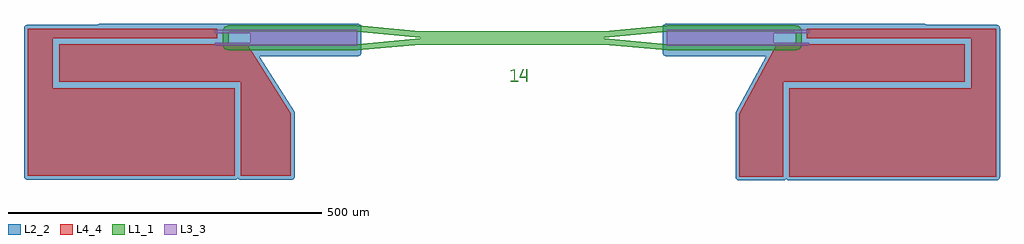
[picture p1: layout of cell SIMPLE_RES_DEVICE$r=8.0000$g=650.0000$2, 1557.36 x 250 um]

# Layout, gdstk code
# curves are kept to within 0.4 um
import gdstk
lib = gdstk.Library(unit=1e-6, precision=1e-10)
def P(c, l, *ps):  # polygons
    for p in ps: c.add(gdstk.Polygon(p, *l))
L1_1 = (1, 1)
L2_2 = (2, 2)
L3_3 = (3, 3)
L4_4 = (4, 4)

simple_res_device_r_8_00 = lib.new_cell('SIMPLE_RES_DEVICE$r=8.0000$g=650.0000$2')
P(simple_res_device_r_8_00, L1_1, [(-960.382,-15.25),(-964.2088,-14.4888),(-967.4531,-12.3211),(-969.6208,-9.0768),(-970.3338,-6.2302),(-969.9514,17.6528),(-966.7259,22.4801),(-961.3622,24.7018),(-755.182,24.75),(-654.713,15.35),(-508.1,15.35),(-508.1,5.35),(-655.182,5.35),(-755.182,14.75),(-960.382,14.75),(-960.382,-5.25),(-755.182,-5.25),(-655.182,4.15),(-508.1,4.15),(-508.1,-5.85),(-654.713,-5.85),(-755.182,-15.25)],
  [(-261.018,-15.25),(-361.487,-5.85),(-508.1,-5.85),(-508.1,4.15),(-361.018,4.15),(-261.018,-5.25),(-55.818,-5.25),(-55.818,14.75),(-261.018,14.75),(-361.018,5.35),(-508.1,5.35),(-508.1,15.35),(-361.487,15.35),(-261.018,24.75),(-55.818,24.75),(-51.9912,23.9888),(-49.4741,22.4801),(-46.2486,17.6528),(-45.818,-5.25),(-46.5792,-9.0768),(-48.7469,-12.3211),(-51.9912,-14.4888),(-55.818,-15.25)],
  [(-485.764,-65.214),(-485.764,-45.108),(-484.286,-45.108),(-484.286,-65.214),(-484.286,-65.214)],
  [(-510.601,-65.22),(-510.601,-63.87),(-505.289,-63.87),(-505.289,-46.736),(-510.601,-48.1),(-510.601,-46.7),(-503.805,-44.946),(-503.805,-63.87),(-498.353,-63.87),(-498.353,-65.22),(-498.353,-65.22)],
  [(-495.994,-58.714),(-495.994,-57.23),(-491.416,-45.108),(-489.884,-45.108),(-494.302,-57.23),(-494.302,-57.23),(-486.84,-57.23),(-486.84,-58.714)])
P(simple_res_device_r_8_00, L2_2, [(-145.818,-222.5),(-149.6244,-221.1381),(-151.1095,-219.3284),(-151.7891,-217.0881),(-151.7005,-115.3184),(-102.9087,-24.5),(-263.5597,-24.2416),(-266.4561,-22.3064),(-267.818,-18.5),(-267.7891,22.0881),(-266.8068,24.8334),(-264.6464,26.7915),(-261.818,27.5),(148.182,27.5),(150.4781,27.0433),(152.6446,25.5),(264.182,25.5),(267.0104,24.7915),(269.4735,22.3284),(270.182,19.5),(270.182,-216.5),(269.4735,-219.3284),(267.0104,-221.7915),(264.182,-222.5),(-65.818,-222.5),(-68.6464,-221.7915),(-70.818,-219.8148),(-72.9896,-221.7915),(-75.818,-222.5)],
  [(-1281.182,-221.5),(-1283.4781,-221.0433),(-1285.4246,-219.7426),(-1286.7253,-217.7961),(-1287.182,-215.5),(-1287.182,19.5),(-1286.1708,22.8334),(-1283.4781,25.0433),(-1281.182,25.5),(-1169.6446,25.5),(-1167.4781,27.0433),(-1165.182,27.5),(-755.182,27.5),(-751.8486,26.4888),(-749.6387,23.7961),(-749.182,21.5),(-749.2109,-19.0881),(-750.5439,-22.3064),(-753.4403,-24.2416),(-911.9792,-24.5),(-855.4213,-113.8225),(-855.182,-215.5),(-856.1932,-218.8334),(-858.8859,-221.0433),(-861.182,-221.5),(-941.182,-221.5),(-944.0104,-220.7915),(-946.182,-218.8148),(-948.3536,-220.7915),(-951.182,-221.5)])
P(simple_res_device_r_8_00, L3_3, [(-261.818,-8),(-261.818,-3),(-261.363,-3),(-261.363,11.75),(-260.918,11.75),(-260.918,-3),(-260.918,-3),(-259.563,-3),(-259.563,11.75),(-259.118,11.75),(-259.118,-3),(-257.763,-3),(-257.763,11.75),(-257.318,11.75),(-257.318,-3),(-255.963,-3),(-255.963,11.75),(-255.518,11.75),(-255.518,-3),(-254.163,-3),(-254.163,11.75),(-253.718,11.75),(-253.718,-3),(-252.363,-3),(-252.363,11.75),(-251.918,11.75),(-251.918,-3),(-250.563,-3),(-250.563,11.75),(-250.118,11.75),(-250.118,-3),(-248.763,-3),(-248.763,11.75),(-248.318,11.75),(-248.318,-3),(-246.963,-3),(-246.963,11.75),(-246.518,11.75),(-246.518,-3),(-245.163,-3),(-245.163,11.75),(-244.718,11.75),(-244.718,-3),(-243.363,-3),(-243.363,11.75),(-242.918,11.75),(-242.918,-3),(-241.563,-3),(-241.563,11.75),(-241.118,11.75),(-241.118,-3),(-239.763,-3),(-239.763,11.75),(-239.318,11.75),(-239.318,-3),(-237.963,-3),(-237.963,11.75),(-237.518,11.75),(-237.518,-3),(-236.163,-3),(-236.163,11.75),(-235.718,11.75),(-235.718,-3),(-234.363,-3),(-234.363,11.75),(-233.918,11.75),(-233.918,-3),(-232.563,-3),(-232.563,11.75),(-232.118,11.75),(-232.118,-3),(-230.763,-3),(-230.763,11.75),(-230.318,11.75),(-230.318,-3),(-228.963,-3),(-228.963,11.75),(-228.518,11.75),(-228.518,-3),(-227.163,-3),(-227.163,11.75),(-226.718,11.75),(-226.718,-3),(-225.363,-3),(-225.363,11.75),(-224.918,11.75),(-224.918,-3),(-223.563,-3),(-223.563,11.75),(-223.118,11.75),(-223.118,-3),(-221.763,-3),(-221.763,11.75),(-221.318,11.75),(-221.318,-3),(-219.963,-3),(-219.963,11.75),(-219.518,11.75),(-219.518,-3),(-218.163,-3),(-218.163,11.75),(-217.718,11.75),(-217.718,-3),(-216.363,-3),(-216.363,11.75),(-215.918,11.75),(-215.918,-3),(-214.563,-3),(-214.563,11.75),(-214.118,11.75),(-214.118,-3),(-212.763,-3),(-212.763,11.75),(-212.318,11.75),(-212.318,-3),(-210.963,-3),(-210.963,11.75),(-210.518,11.75),(-210.518,-3),(-209.163,-3),(-209.163,11.75),(-208.718,11.75),(-208.718,-3),(-207.363,-3),(-207.363,11.75),(-206.918,11.75),(-206.918,-3),(-205.563,-3),(-205.563,11.75),(-205.118,11.75),(-205.118,-3),(-203.763,-3),(-203.763,11.75),(-203.318,11.75),(-203.318,-3),(-201.963,-3),(-201.963,11.75),(-201.518,11.75),(-201.518,-3),(-200.163,-3),(-200.163,11.75),(-199.718,11.75),(-199.718,-3),(-198.363,-3),(-198.363,11.75),(-197.918,11.75),(-197.918,-3),(-196.563,-3),(-196.563,11.75),(-196.118,11.75),(-196.118,-3),(-194.763,-3),(-194.763,11.75),(-194.318,11.75),(-194.318,-3),(-192.963,-3),(-192.963,11.75),(-192.518,11.75),(-192.518,-3),(-191.163,-3),(-191.163,11.75),(-190.718,11.75),(-190.718,-3),(-189.363,-3),(-189.363,11.75),(-188.918,11.75),(-188.918,-3),(-187.563,-3),(-187.563,11.75),(-187.118,11.75),(-187.118,-3),(-185.763,-3),(-185.763,11.75),(-185.318,11.75),(-185.318,-3),(-183.963,-3),(-183.963,11.75),(-183.518,11.75),(-183.518,-3),(-182.163,-3),(-182.163,11.75),(-181.718,11.75),(-181.718,-3),(-180.363,-3),(-180.363,11.75),(-179.918,11.75),(-179.918,-3),(-178.563,-3),(-178.563,11.75),(-178.118,11.75),(-178.118,-3),(-176.763,-3),(-176.763,11.75),(-176.318,11.75),(-176.318,-3),(-174.963,-3),(-174.963,11.75),(-174.518,11.75),(-174.518,-3),(-173.163,-3),(-173.163,11.75),(-172.718,11.75),(-172.718,-3),(-171.363,-3),(-171.363,11.75),(-170.918,11.75),(-170.918,-3),(-169.563,-3),(-169.563,11.75),(-169.118,11.75),(-169.118,-3),(-167.763,-3),(-167.763,11.75),(-167.318,11.75),(-167.318,-3),(-165.963,-3),(-165.963,11.75),(-165.518,11.75),(-165.518,-3),(-164.163,-3),(-164.163,11.75),(-163.718,11.75),(-163.718,-3),(-162.363,-3),(-162.363,11.75),(-161.918,11.75),(-161.918,-3),(-160.563,-3),(-160.563,11.75),(-160.118,11.75),(-160.118,-3),(-158.763,-3),(-158.763,11.75),(-158.318,11.75),(-158.318,-3),(-156.963,-3),(-156.963,11.75),(-156.518,11.75),(-156.518,-3),(-155.163,-3),(-155.163,11.75),(-154.718,11.75),(-154.718,-3),(-153.363,-3),(-153.363,11.75),(-152.918,11.75),(-152.918,-3),(-151.563,-3),(-151.563,11.75),(-151.118,11.75),(-151.118,-3),(-149.763,-3),(-149.763,11.75),(-149.318,11.75),(-149.318,-3),(-147.963,-3),(-147.963,11.75),(-147.518,11.75),(-147.518,-3),(-146.163,-3),(-146.163,11.75),(-145.718,11.75),(-145.718,-3),(-144.363,-3),(-144.363,11.75),(-143.918,11.75),(-143.918,-3),(-142.563,-3),(-142.563,11.75),(-142.118,11.75),(-142.118,-3),(-140.763,-3),(-140.763,11.75),(-140.318,11.75),(-140.318,-3),(-138.963,-3),(-138.963,11.75),(-138.518,11.75),(-138.518,-3),(-137.163,-3),(-137.163,11.75),(-136.718,11.75),(-136.718,-3),(-135.363,-3),(-135.363,11.75),(-134.918,11.75),(-134.918,-3),(-133.563,-3),(-133.563,11.75),(-133.118,11.75),(-133.118,-3),(-131.763,-3),(-131.763,11.75),(-131.318,11.75),(-131.318,-3),(-129.963,-3),(-129.963,11.75),(-129.518,11.75),(-129.518,-3),(-128.163,-3),(-128.163,11.75),(-127.718,11.75),(-127.718,-3),(-126.363,-3),(-126.363,11.75),(-125.918,11.75),(-125.918,-3),(-124.563,-3),(-124.563,11.75),(-124.118,11.75),(-124.118,-3),(-122.763,-3),(-122.763,11.75),(-122.318,11.75),(-122.318,-3),(-120.963,-3),(-120.963,11.75),(-120.518,11.75),(-120.518,-3),(-119.163,-3),(-119.163,11.75),(-118.718,11.75),(-118.718,-3),(-117.363,-3),(-117.363,11.75),(-116.918,11.75),(-116.918,-3),(-115.563,-3),(-115.563,11.75),(-115.118,11.75),(-115.118,-3),(-113.763,-3),(-113.763,11.75),(-113.318,11.75),(-113.318,-3),(-111.963,-3),(-111.963,11.75),(-111.518,11.75),(-111.518,-3),(-110.163,-3),(-110.163,11.75),(-109.718,11.75),(-109.718,-3),(-108.363,-3),(-108.363,11.75),(-107.918,11.75),(-107.918,-3),(-106.563,-3),(-106.563,11.75),(-106.118,11.75),(-106.118,-3),(-104.763,-3),(-104.763,11.75),(-104.318,11.75),(-104.318,-3),(-102.963,-3),(-102.963,11.75),(-102.518,11.75),(-102.518,-3),(-101.163,-3),(-101.163,11.75),(-100.718,11.75),(-100.718,-3),(-99.363,-3),(-99.363,11.75),(-98.918,11.75),(-98.918,-3),(-97.563,-3),(-97.563,11.75),(-97.118,11.75),(-97.118,-3),(-95.763,-3),(-95.763,11.75),(-95.318,11.75),(-95.318,-3),(-93.963,-3),(-93.963,11.75),(-93.518,11.75),(-93.518,-3),(-92.163,-3),(-92.163,11.75),(-91.718,11.75),(-91.718,-3),(-33.818,-3),(-33.818,-8)],
  [(-260.463,-2.25),(-260.463,12.5),(-261.818,12.5),(-261.818,17.5),(-33.818,17.5),(-33.818,12.5),(-90.818,12.5),(-90.818,-2.25),(-91.263,-2.25),(-91.263,12.5),(-92.618,12.5),(-92.618,-2.25),(-93.063,-2.25),(-93.063,12.5),(-94.418,12.5),(-94.418,-2.25),(-94.863,-2.25),(-94.863,12.5),(-96.218,12.5),(-96.218,-2.25),(-96.663,-2.25),(-96.663,12.5),(-98.018,12.5),(-98.018,-2.25),(-98.463,-2.25),(-98.463,12.5),(-99.818,12.5),(-99.818,-2.25),(-100.263,-2.25),(-100.263,12.5),(-101.618,12.5),(-101.618,-2.25),(-102.063,-2.25),(-102.063,12.5),(-103.418,12.5),(-103.418,-2.25),(-103.863,-2.25),(-103.863,12.5),(-105.218,12.5),(-105.218,-2.25),(-105.663,-2.25),(-105.663,12.5),(-107.018,12.5),(-107.018,-2.25),(-107.463,-2.25),(-107.463,12.5),(-108.818,12.5),(-108.818,-2.25),(-109.263,-2.25),(-109.263,12.5),(-110.618,12.5),(-110.618,-2.25),(-111.063,-2.25),(-111.063,12.5),(-112.418,12.5),(-112.418,-2.25),(-112.863,-2.25),(-112.863,12.5),(-114.218,12.5),(-114.218,-2.25),(-114.663,-2.25),(-114.663,12.5),(-116.018,12.5),(-116.018,-2.25),(-116.463,-2.25),(-116.463,12.5),(-117.818,12.5),(-117.818,-2.25),(-118.263,-2.25),(-118.263,12.5),(-119.618,12.5),(-119.618,-2.25),(-120.063,-2.25),(-120.063,12.5),(-121.418,12.5),(-121.418,-2.25),(-121.863,-2.25),(-121.863,12.5),(-123.218,12.5),(-123.218,-2.25),(-123.663,-2.25),(-123.663,12.5),(-125.018,12.5),(-125.018,-2.25),(-125.463,-2.25),(-125.463,12.5),(-126.818,12.5),(-126.818,-2.25),(-127.263,-2.25),(-127.263,12.5),(-128.618,12.5),(-128.618,-2.25),(-129.063,-2.25),(-129.063,12.5),(-130.418,12.5),(-130.418,-2.25),(-130.863,-2.25),(-130.863,12.5),(-132.218,12.5),(-132.218,-2.25),(-132.663,-2.25),(-132.663,12.5),(-134.018,12.5),(-134.018,-2.25),(-134.463,-2.25),(-134.463,12.5),(-135.818,12.5),(-135.818,-2.25),(-136.263,-2.25),(-136.263,12.5),(-137.618,12.5),(-137.618,-2.25),(-138.063,-2.25),(-138.063,12.5),(-139.418,12.5),(-139.418,-2.25),(-139.863,-2.25),(-139.863,12.5),(-141.218,12.5),(-141.218,-2.25),(-141.663,-2.25),(-141.663,12.5),(-143.018,12.5),(-143.018,-2.25),(-143.463,-2.25),(-143.463,12.5),(-144.818,12.5),(-144.818,-2.25),(-145.263,-2.25),(-145.263,12.5),(-146.618,12.5),(-146.618,-2.25),(-147.063,-2.25),(-147.063,12.5),(-148.418,12.5),(-148.418,-2.25),(-148.863,-2.25),(-148.863,12.5),(-150.218,12.5),(-150.218,-2.25),(-150.663,-2.25),(-150.663,12.5),(-152.018,12.5),(-152.018,-2.25),(-152.463,-2.25),(-152.463,12.5),(-153.818,12.5),(-153.818,-2.25),(-154.263,-2.25),(-154.263,12.5),(-155.618,12.5),(-155.618,-2.25),(-156.063,-2.25),(-156.063,12.5),(-157.418,12.5),(-157.418,-2.25),(-157.863,-2.25),(-157.863,12.5),(-159.218,12.5),(-159.218,-2.25),(-159.663,-2.25),(-159.663,12.5),(-161.018,12.5),(-161.018,-2.25),(-161.463,-2.25),(-161.463,12.5),(-162.818,12.5),(-162.818,-2.25),(-163.263,-2.25),(-163.263,12.5),(-164.618,12.5),(-164.618,-2.25),(-165.063,-2.25),(-165.063,12.5),(-166.418,12.5),(-166.418,-2.25),(-166.863,-2.25),(-166.863,12.5),(-168.218,12.5),(-168.218,-2.25),(-168.663,-2.25),(-168.663,12.5),(-170.018,12.5),(-170.018,-2.25),(-170.463,-2.25),(-170.463,12.5),(-171.818,12.5),(-171.818,-2.25),(-172.263,-2.25),(-172.263,12.5),(-173.618,12.5),(-173.618,-2.25),(-174.063,-2.25),(-174.063,12.5),(-175.418,12.5),(-175.418,-2.25),(-175.863,-2.25),(-175.863,12.5),(-177.218,12.5),(-177.218,-2.25),(-177.663,-2.25),(-177.663,12.5),(-179.018,12.5),(-179.018,-2.25),(-179.463,-2.25),(-179.463,12.5),(-180.818,12.5),(-180.818,-2.25),(-181.263,-2.25),(-181.263,12.5),(-182.618,12.5),(-182.618,-2.25),(-183.063,-2.25),(-183.063,12.5),(-184.418,12.5),(-184.418,-2.25),(-184.863,-2.25),(-184.863,12.5),(-186.218,12.5),(-186.218,-2.25),(-186.663,-2.25),(-186.663,12.5),(-188.018,12.5),(-188.018,-2.25),(-188.463,-2.25),(-188.463,12.5),(-189.818,12.5),(-189.818,-2.25),(-190.263,-2.25),(-190.263,12.5),(-191.618,12.5),(-191.618,-2.25),(-192.063,-2.25),(-192.063,12.5),(-193.418,12.5),(-193.418,-2.25),(-193.863,-2.25),(-193.863,12.5),(-195.218,12.5),(-195.218,-2.25),(-195.663,-2.25),(-195.663,12.5),(-197.018,12.5),(-197.018,-2.25),(-197.463,-2.25),(-197.463,12.5),(-198.818,12.5),(-198.818,-2.25),(-199.263,-2.25),(-199.263,12.5),(-200.618,12.5),(-200.618,-2.25),(-201.063,-2.25),(-201.063,12.5),(-202.418,12.5),(-202.418,-2.25),(-202.863,-2.25),(-202.863,12.5),(-204.218,12.5),(-204.218,-2.25),(-204.663,-2.25),(-204.663,12.5),(-206.018,12.5),(-206.018,-2.25),(-206.463,-2.25),(-206.463,12.5),(-207.818,12.5),(-207.818,-2.25),(-208.263,-2.25),(-208.263,12.5),(-209.618,12.5),(-209.618,-2.25),(-210.063,-2.25),(-210.063,12.5),(-211.418,12.5),(-211.418,-2.25),(-211.863,-2.25),(-211.863,12.5),(-213.218,12.5),(-213.218,-2.25),(-213.663,-2.25),(-213.663,12.5),(-215.018,12.5),(-215.018,-2.25),(-215.463,-2.25),(-215.463,12.5),(-216.818,12.5),(-216.818,-2.25),(-217.263,-2.25),(-217.263,12.5),(-218.618,12.5),(-218.618,-2.25),(-219.063,-2.25),(-219.063,12.5),(-220.418,12.5),(-220.418,-2.25),(-220.863,-2.25),(-220.863,12.5),(-222.218,12.5),(-222.218,-2.25),(-222.663,-2.25),(-222.663,12.5),(-224.018,12.5),(-224.018,-2.25),(-224.463,-2.25),(-224.463,12.5),(-225.818,12.5),(-225.818,-2.25),(-226.263,-2.25),(-226.263,12.5),(-227.618,12.5),(-227.618,-2.25),(-228.063,-2.25),(-228.063,12.5),(-229.418,12.5),(-229.418,-2.25),(-229.863,-2.25),(-229.863,12.5),(-231.218,12.5),(-231.218,-2.25),(-231.663,-2.25),(-231.663,12.5),(-233.018,12.5),(-233.018,-2.25),(-233.463,-2.25),(-233.463,12.5),(-234.818,12.5),(-234.818,-2.25),(-235.263,-2.25),(-235.263,12.5),(-236.618,12.5),(-236.618,-2.25),(-237.063,-2.25),(-237.063,12.5),(-238.418,12.5),(-238.418,-2.25),(-238.863,-2.25),(-238.863,12.5),(-240.218,12.5),(-240.218,-2.25),(-240.663,-2.25),(-240.663,12.5),(-242.018,12.5),(-242.018,-2.25),(-242.463,-2.25),(-242.463,12.5),(-243.818,12.5),(-243.818,-2.25),(-244.263,-2.25),(-244.263,12.5),(-245.618,12.5),(-245.618,-2.25),(-246.063,-2.25),(-246.063,12.5),(-247.418,12.5),(-247.418,-2.25),(-247.863,-2.25),(-247.863,12.5),(-249.218,12.5),(-249.218,-2.25),(-249.663,-2.25),(-249.663,12.5),(-251.018,12.5),(-251.018,-2.25),(-251.463,-2.25),(-251.463,12.5),(-252.818,12.5),(-252.818,-2.25),(-253.263,-2.25),(-253.263,12.5),(-254.618,12.5),(-254.618,-2.25),(-255.063,-2.25),(-255.063,12.5),(-255.063,12.5),(-256.418,12.5),(-256.418,-2.25),(-256.863,-2.25),(-256.863,12.5),(-258.218,12.5),(-258.218,-2.25),(-258.663,-2.25),(-258.663,12.5),(-260.018,12.5),(-260.018,-2.25)],
  [(-983.182,-8),(-983.182,-3),(-925.282,-3),(-925.282,11.75),(-924.837,11.75),(-924.837,-3),(-923.482,-3),(-923.482,11.75),(-923.037,11.75),(-923.037,-3),(-921.682,-3),(-921.682,11.75),(-921.237,11.75),(-921.237,-3),(-919.882,-3),(-919.882,11.75),(-919.437,11.75),(-919.437,-3),(-918.082,-3),(-918.082,11.75),(-917.637,11.75),(-917.637,-3),(-916.282,-3),(-916.282,11.75),(-915.837,11.75),(-915.837,-3),(-914.482,-3),(-914.482,11.75),(-914.037,11.75),(-914.037,-3),(-912.682,-3),(-912.682,11.75),(-912.237,11.75),(-912.237,-3),(-910.882,-3),(-910.882,11.75),(-910.437,11.75),(-910.437,-3),(-909.082,-3),(-909.082,11.75),(-908.637,11.75),(-908.637,-3),(-908.637,-3),(-907.282,-3),(-907.282,11.75),(-906.837,11.75),(-906.837,-3),(-905.482,-3),(-905.482,11.75),(-905.037,11.75),(-905.037,-3),(-903.682,-3),(-903.682,11.75),(-903.237,11.75),(-903.237,-3),(-901.882,-3),(-901.882,11.75),(-901.437,11.75),(-901.437,-3),(-900.082,-3),(-900.082,11.75),(-899.637,11.75),(-899.637,-3),(-898.282,-3),(-898.282,11.75),(-897.837,11.75),(-897.837,-3),(-896.482,-3),(-896.482,11.75),(-896.037,11.75),(-896.037,-3),(-894.682,-3),(-894.682,11.75),(-894.237,11.75),(-894.237,-3),(-892.882,-3),(-892.882,11.75),(-892.437,11.75),(-892.437,-3),(-891.082,-3),(-891.082,11.75),(-890.637,11.75),(-890.637,-3),(-889.282,-3),(-889.282,11.75),(-888.837,11.75),(-888.837,-3),(-887.482,-3),(-887.482,11.75),(-887.037,11.75),(-887.037,-3),(-885.682,-3),(-885.682,11.75),(-885.237,11.75),(-885.237,-3),(-883.882,-3),(-883.882,11.75),(-883.437,11.75),(-883.437,-3),(-882.082,-3),(-882.082,11.75),(-881.637,11.75),(-881.637,-3),(-880.282,-3),(-880.282,11.75),(-879.837,11.75),(-879.837,-3),(-878.482,-3),(-878.482,11.75),(-878.037,11.75),(-878.037,-3),(-876.682,-3),(-876.682,11.75),(-876.237,11.75),(-876.237,-3),(-874.882,-3),(-874.882,11.75),(-874.437,11.75),(-874.437,-3),(-873.082,-3),(-873.082,11.75),(-872.637,11.75),(-872.637,-3),(-871.282,-3),(-871.282,11.75),(-870.837,11.75),(-870.837,-3),(-869.482,-3),(-869.482,11.75),(-869.037,11.75),(-869.037,-3),(-867.682,-3),(-867.682,11.75),(-867.237,11.75),(-867.237,-3),(-865.882,-3),(-865.882,11.75),(-865.437,11.75),(-865.437,-3),(-864.082,-3),(-864.082,11.75),(-863.637,11.75),(-863.637,-3),(-862.282,-3),(-862.282,11.75),(-861.837,11.75),(-861.837,-3),(-860.482,-3),(-860.482,11.75),(-860.037,11.75),(-860.037,-3),(-858.682,-3),(-858.682,11.75),(-858.237,11.75),(-858.237,-3),(-856.882,-3),(-856.882,11.75),(-856.437,11.75),(-856.437,-3),(-855.082,-3),(-855.082,11.75),(-854.637,11.75),(-854.637,-3),(-853.282,-3),(-853.282,11.75),(-852.837,11.75),(-852.837,-3),(-851.482,-3),(-851.482,11.75),(-851.037,11.75),(-851.037,-3),(-849.682,-3),(-849.682,11.75),(-849.237,11.75),(-849.237,-3),(-847.882,-3),(-847.882,11.75),(-847.437,11.75),(-847.437,-3),(-846.082,-3),(-846.082,11.75),(-845.637,11.75),(-845.637,-3),(-844.282,-3),(-844.282,11.75),(-843.837,11.75),(-843.837,-3),(-842.482,-3),(-842.482,11.75),(-842.037,11.75),(-842.037,-3),(-840.682,-3),(-840.682,11.75),(-840.237,11.75),(-840.237,-3),(-838.882,-3),(-838.882,11.75),(-838.437,11.75),(-838.437,-3),(-837.082,-3),(-837.082,11.75),(-836.637,11.75),(-836.637,-3),(-835.282,-3),(-835.282,11.75),(-834.837,11.75),(-834.837,-3),(-833.482,-3),(-833.482,11.75),(-833.037,11.75),(-833.037,-3),(-831.682,-3),(-831.682,11.75),(-831.237,11.75),(-831.237,-3),(-829.882,-3),(-829.882,11.75),(-829.437,11.75),(-829.437,-3),(-828.082,-3),(-828.082,11.75),(-827.637,11.75),(-827.637,-3),(-826.282,-3),(-826.282,11.75),(-825.837,11.75),(-825.837,-3),(-824.482,-3),(-824.482,11.75),(-824.037,11.75),(-824.037,-3),(-822.682,-3),(-822.682,11.75),(-822.237,11.75),(-822.237,-3),(-820.882,-3),(-820.882,11.75),(-820.437,11.75),(-820.437,-3),(-819.082,-3),(-819.082,11.75),(-818.637,11.75),(-818.637,-3),(-817.282,-3),(-817.282,11.75),(-816.837,11.75),(-816.837,-3),(-815.482,-3),(-815.482,11.75),(-815.037,11.75),(-815.037,-3),(-813.682,-3),(-813.682,11.75),(-813.237,11.75),(-813.237,-3),(-811.882,-3),(-811.882,11.75),(-811.437,11.75),(-811.437,-3),(-810.082,-3),(-810.082,11.75),(-809.637,11.75),(-809.637,-3),(-808.282,-3),(-808.282,11.75),(-807.837,11.75),(-807.837,-3),(-806.482,-3),(-806.482,11.75),(-806.037,11.75),(-806.037,-3),(-804.682,-3),(-804.682,11.75),(-804.237,11.75),(-804.237,-3),(-802.882,-3),(-802.882,11.75),(-802.437,11.75),(-802.437,-3),(-801.082,-3),(-801.082,11.75),(-800.637,11.75),(-800.637,-3),(-799.282,-3),(-799.282,11.75),(-798.837,11.75),(-798.837,-3),(-797.482,-3),(-797.482,11.75),(-797.037,11.75),(-797.037,-3),(-795.682,-3),(-795.682,11.75),(-795.237,11.75),(-795.237,-3),(-793.882,-3),(-793.882,11.75),(-793.437,11.75),(-793.437,-3),(-792.082,-3),(-792.082,11.75),(-791.637,11.75),(-791.637,-3),(-790.282,-3),(-790.282,11.75),(-789.837,11.75),(-789.837,-3),(-788.482,-3),(-788.482,11.75),(-788.037,11.75),(-788.037,-3),(-786.682,-3),(-786.682,11.75),(-786.237,11.75),(-786.237,-3),(-784.882,-3),(-784.882,11.75),(-784.437,11.75),(-784.437,-3),(-783.082,-3),(-783.082,11.75),(-782.637,11.75),(-782.637,-3),(-781.282,-3),(-781.282,11.75),(-780.837,11.75),(-780.837,-3),(-779.482,-3),(-779.482,11.75),(-779.037,11.75),(-779.037,-3),(-777.682,-3),(-777.682,11.75),(-777.237,11.75),(-777.237,-3),(-775.882,-3),(-775.882,11.75),(-775.437,11.75),(-775.437,-3),(-774.082,-3),(-774.082,11.75),(-773.637,11.75),(-773.637,-3),(-772.282,-3),(-772.282,11.75),(-771.837,11.75),(-771.837,-3),(-770.482,-3),(-770.482,11.75),(-770.037,11.75),(-770.037,-3),(-768.682,-3),(-768.682,11.75),(-768.237,11.75),(-768.237,-3),(-766.882,-3),(-766.882,11.75),(-766.437,11.75),(-766.437,-3),(-765.082,-3),(-765.082,11.75),(-764.637,11.75),(-764.637,-3),(-763.282,-3),(-763.282,11.75),(-762.837,11.75),(-762.837,-3),(-761.482,-3),(-761.482,11.75),(-761.037,11.75),(-761.037,-3),(-759.682,-3),(-759.682,11.75),(-759.237,11.75),(-759.237,-3),(-757.882,-3),(-757.882,11.75),(-757.437,11.75),(-757.437,-3),(-756.082,-3),(-756.082,11.75),(-755.637,11.75),(-755.637,-3),(-755.182,-3),(-755.182,-8)],
  [(-926.182,-2.25),(-926.182,12.5),(-983.182,12.5),(-983.182,17.5),(-755.182,17.5),(-755.182,12.5),(-756.537,12.5),(-756.537,-2.25),(-756.982,-2.25),(-756.982,12.5),(-758.337,12.5),(-758.337,-2.25),(-758.782,-2.25),(-758.782,12.5),(-760.137,12.5),(-760.137,-2.25),(-760.582,-2.25),(-760.582,12.5),(-761.937,12.5),(-761.937,-2.25),(-762.382,-2.25),(-762.382,12.5),(-763.737,12.5),(-763.737,-2.25),(-764.182,-2.25),(-764.182,12.5),(-765.537,12.5),(-765.537,-2.25),(-765.982,-2.25),(-765.982,12.5),(-767.337,12.5),(-767.337,-2.25),(-767.782,-2.25),(-767.782,12.5),(-769.137,12.5),(-769.137,-2.25),(-769.582,-2.25),(-769.582,12.5),(-770.937,12.5),(-770.937,-2.25),(-771.382,-2.25),(-771.382,12.5),(-772.737,12.5),(-772.737,-2.25),(-773.182,-2.25),(-773.182,12.5),(-774.537,12.5),(-774.537,-2.25),(-774.982,-2.25),(-774.982,12.5),(-776.337,12.5),(-776.337,-2.25),(-776.782,-2.25),(-776.782,12.5),(-778.137,12.5),(-778.137,-2.25),(-778.582,-2.25),(-778.582,12.5),(-779.937,12.5),(-779.937,-2.25),(-780.382,-2.25),(-780.382,12.5),(-781.737,12.5),(-781.737,-2.25),(-782.182,-2.25),(-782.182,12.5),(-783.537,12.5),(-783.537,-2.25),(-783.982,-2.25),(-783.982,12.5),(-785.337,12.5),(-785.337,-2.25),(-785.782,-2.25),(-785.782,12.5),(-787.137,12.5),(-787.137,-2.25),(-787.582,-2.25),(-787.582,12.5),(-788.937,12.5),(-788.937,-2.25),(-789.382,-2.25),(-789.382,12.5),(-790.737,12.5),(-790.737,-2.25),(-791.182,-2.25),(-791.182,12.5),(-792.537,12.5),(-792.537,-2.25),(-792.982,-2.25),(-792.982,12.5),(-794.337,12.5),(-794.337,-2.25),(-794.782,-2.25),(-794.782,12.5),(-796.137,12.5),(-796.137,-2.25),(-796.582,-2.25),(-796.582,12.5),(-797.937,12.5),(-797.937,-2.25),(-798.382,-2.25),(-798.382,12.5),(-799.737,12.5),(-799.737,-2.25),(-800.182,-2.25),(-800.182,12.5),(-801.537,12.5),(-801.537,-2.25),(-801.982,-2.25),(-801.982,12.5),(-803.337,12.5),(-803.337,-2.25),(-803.782,-2.25),(-803.782,12.5),(-805.137,12.5),(-805.137,-2.25),(-805.582,-2.25),(-805.582,12.5),(-806.937,12.5),(-806.937,-2.25),(-807.382,-2.25),(-807.382,12.5),(-808.737,12.5),(-808.737,-2.25),(-809.182,-2.25),(-809.182,12.5),(-810.537,12.5),(-810.537,-2.25),(-810.982,-2.25),(-810.982,12.5),(-812.337,12.5),(-812.337,-2.25),(-812.782,-2.25),(-812.782,12.5),(-814.137,12.5),(-814.137,-2.25),(-814.582,-2.25),(-814.582,12.5),(-815.937,12.5),(-815.937,-2.25),(-816.382,-2.25),(-816.382,12.5),(-817.737,12.5),(-817.737,-2.25),(-818.182,-2.25),(-818.182,12.5),(-819.537,12.5),(-819.537,-2.25),(-819.982,-2.25),(-819.982,12.5),(-821.337,12.5),(-821.337,-2.25),(-821.782,-2.25),(-821.782,12.5),(-823.137,12.5),(-823.137,-2.25),(-823.582,-2.25),(-823.582,12.5),(-824.937,12.5),(-824.937,-2.25),(-825.382,-2.25),(-825.382,12.5),(-826.737,12.5),(-826.737,-2.25),(-827.182,-2.25),(-827.182,12.5),(-828.537,12.5),(-828.537,-2.25),(-828.982,-2.25),(-828.982,12.5),(-830.337,12.5),(-830.337,-2.25),(-830.782,-2.25),(-830.782,12.5),(-832.137,12.5),(-832.137,-2.25),(-832.582,-2.25),(-832.582,12.5),(-833.937,12.5),(-833.937,-2.25),(-834.382,-2.25),(-834.382,12.5),(-835.737,12.5),(-835.737,-2.25),(-836.182,-2.25),(-836.182,12.5),(-837.537,12.5),(-837.537,-2.25),(-837.982,-2.25),(-837.982,12.5),(-839.337,12.5),(-839.337,-2.25),(-839.782,-2.25),(-839.782,12.5),(-841.137,12.5),(-841.137,-2.25),(-841.582,-2.25),(-841.582,12.5),(-842.937,12.5),(-842.937,-2.25),(-843.382,-2.25),(-843.382,12.5),(-844.737,12.5),(-844.737,-2.25),(-845.182,-2.25),(-845.182,12.5),(-846.537,12.5),(-846.537,-2.25),(-846.982,-2.25),(-846.982,12.5),(-848.337,12.5),(-848.337,-2.25),(-848.782,-2.25),(-848.782,12.5),(-850.137,12.5),(-850.137,-2.25),(-850.582,-2.25),(-850.582,12.5),(-851.937,12.5),(-851.937,-2.25),(-852.382,-2.25),(-852.382,12.5),(-853.737,12.5),(-853.737,-2.25),(-854.182,-2.25),(-854.182,12.5),(-855.537,12.5),(-855.537,-2.25),(-855.982,-2.25),(-855.982,12.5),(-857.337,12.5),(-857.337,-2.25),(-857.782,-2.25),(-857.782,12.5),(-859.137,12.5),(-859.137,-2.25),(-859.582,-2.25),(-859.582,12.5),(-860.937,12.5),(-860.937,-2.25),(-861.382,-2.25),(-861.382,12.5),(-862.737,12.5),(-862.737,-2.25),(-863.182,-2.25),(-863.182,12.5),(-864.537,12.5),(-864.537,-2.25),(-864.982,-2.25),(-864.982,12.5),(-866.337,12.5),(-866.337,-2.25),(-866.782,-2.25),(-866.782,12.5),(-868.137,12.5),(-868.137,-2.25),(-868.582,-2.25),(-868.582,12.5),(-869.937,12.5),(-869.937,-2.25),(-870.382,-2.25),(-870.382,12.5),(-871.737,12.5),(-871.737,-2.25),(-872.182,-2.25),(-872.182,12.5),(-873.537,12.5),(-873.537,-2.25),(-873.982,-2.25),(-873.982,12.5),(-875.337,12.5),(-875.337,-2.25),(-875.782,-2.25),(-875.782,12.5),(-877.137,12.5),(-877.137,-2.25),(-877.582,-2.25),(-877.582,12.5),(-878.937,12.5),(-878.937,-2.25),(-879.382,-2.25),(-879.382,12.5),(-880.737,12.5),(-880.737,-2.25),(-881.182,-2.25),(-881.182,12.5),(-882.537,12.5),(-882.537,-2.25),(-882.982,-2.25),(-882.982,12.5),(-884.337,12.5),(-884.337,-2.25),(-884.782,-2.25),(-884.782,12.5),(-886.137,12.5),(-886.137,-2.25),(-886.582,-2.25),(-886.582,12.5),(-887.937,12.5),(-887.937,-2.25),(-888.382,-2.25),(-888.382,12.5),(-889.737,12.5),(-889.737,-2.25),(-890.182,-2.25),(-890.182,12.5),(-891.537,12.5),(-891.537,-2.25),(-891.982,-2.25),(-891.982,-2.25),(-891.982,12.5),(-893.337,12.5),(-893.337,-2.25),(-893.782,-2.25),(-893.782,12.5),(-895.137,12.5),(-895.137,-2.25),(-895.582,-2.25),(-895.582,12.5),(-896.937,12.5),(-896.937,-2.25),(-897.382,-2.25),(-897.382,12.5),(-898.737,12.5),(-898.737,-2.25),(-899.182,-2.25),(-899.182,12.5),(-900.537,12.5),(-900.537,-2.25),(-900.982,-2.25),(-900.982,12.5),(-902.337,12.5),(-902.337,-2.25),(-902.782,-2.25),(-902.782,12.5),(-904.137,12.5),(-904.137,-2.25),(-904.582,-2.25),(-904.582,12.5),(-905.937,12.5),(-905.937,-2.25),(-906.382,-2.25),(-906.382,12.5),(-907.737,12.5),(-907.737,-2.25),(-908.182,-2.25),(-908.182,12.5),(-909.537,12.5),(-909.537,-2.25),(-909.982,-2.25),(-909.982,12.5),(-911.337,12.5),(-911.337,-2.25),(-911.782,-2.25),(-911.782,12.5),(-913.137,12.5),(-913.137,-2.25),(-913.582,-2.25),(-913.582,12.5),(-914.937,12.5),(-914.937,-2.25),(-915.382,-2.25),(-915.382,12.5),(-916.737,12.5),(-916.737,-2.25),(-917.182,-2.25),(-917.182,12.5),(-918.537,12.5),(-918.537,-2.25),(-918.982,-2.25),(-918.982,12.5),(-920.337,12.5),(-920.337,-2.25),(-920.782,-2.25),(-920.782,12.5),(-922.137,12.5),(-922.137,-2.25),(-922.582,-2.25),(-922.582,12.5),(-923.937,12.5),(-923.937,-2.25),(-924.382,-2.25),(-924.382,12.5),(-925.737,12.5),(-925.737,-2.25)])
P(simple_res_device_r_8_00, L4_4, [(-145.818,-216.5),(-145.818,-116.5),(-85.818,-5.5),(214.182,-5.5),(214.182,-5.5),(214.182,-65.5),(-75.818,-65.5),(-75.818,-216.5)],
  [(-65.818,-216.5),(-65.818,-75.5),(224.182,-75.5),(224.182,4.5),(-37.818,4.5),(-37.818,19.5),(264.182,19.5),(264.182,19.5),(264.182,-216.5)],
  [(-941.182,-215.5),(-941.182,-65.5),(-1231.182,-65.5),(-1231.182,-5.5),(-931.182,-5.5),(-861.182,-115.5),(-861.182,-115.5),(-861.182,-215.5)],
  [(-1281.182,-215.5),(-1281.182,19.5),(-979.182,19.5),(-979.182,4.5),(-979.182,4.5),(-1241.182,4.5),(-1241.182,-75.5),(-951.182,-75.5),(-951.182,-215.5)])

lib.write_gds('SIMPLE_RES_DEVICE_r_8.0000_g_650.0000_2.gds')
